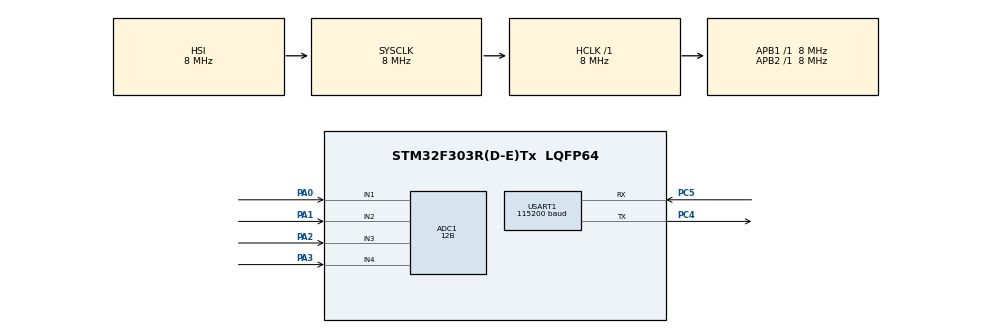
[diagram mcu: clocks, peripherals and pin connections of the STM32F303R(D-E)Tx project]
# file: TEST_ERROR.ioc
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ADC1.Channel-0\#ChannelRegularConversion=ADC_CHANNEL_1
ADC1.Channel-1\#ChannelRegularConversion=ADC_CHANNEL_3
ADC1.ClockPrescaler=ADC_CLOCK_ASYNC_DIV1
ADC1.ContinuousConvMode=ENABLE
ADC1.DMAContinuousRequests=ENABLE
ADC1.DataAlign=ADC_DATAALIGN_RIGHT
ADC1.DiscontinuousConvMode=DISABLE
ADC1.EOCSelection=ADC_EOC_SINGLE_CONV
ADC1.EnableAnalogWatchDog1=false
ADC1.EnableAnalogWatchDog2=false
ADC1.EnableAnalogWatchDog3=false
ADC1.EnableInjectedConversion=ENABLE
ADC1.EnableRegularConversion=ENABLE
ADC1.ExternalTrigConv=ADC_SOFTWARE_START
ADC1.ExternalTrigConvEdge=ADC_EXTERNALTRIGCONVEDGE_NONE
ADC1.InjNumberOfConversion=0
ADC1.LowPowerAutoWait=DISABLE
ADC1.NbrOfConversion=2
ADC1.NbrOfConversionFlag=1
ADC1.Offset-0\#ChannelRegularConversion=0
ADC1.Offset-1\#ChannelRegularConversion=0
ADC1.OffsetNumber-0\#ChannelRegularConversion=ADC_OFFSET_NONE
ADC1.OffsetNumber-1\#ChannelRegularConversion=ADC_OFFSET_NONE
ADC1.Overrun=ADC_OVR_DATA_OVERWRITTEN
ADC1.Rank-0\#ChannelRegularConversion=1
ADC1.Rank-1\#ChannelRegularConversion=2
ADC1.Resolution=ADC_RESOLUTION_12B
ADC1.SamplingTime-0\#ChannelRegularConversion=ADC_SAMPLETIME_61CYCLES_5
ADC1.SamplingTime-1\#ChannelRegularConversion=ADC_SAMPLETIME_61CYCLES_5
ADC1.ScanConvMode=ADC_SCAN_ENABLE
ADC1.SingleDiff-0\#ChannelRegularConversion=ADC_DIFFERENTIAL_ENDED
ADC1.SingleDiff-1\#ChannelRegularConversion=ADC_DIFFERENTIAL_ENDED
ADC1.master=1
Dma.ADC1.1.Direction=DMA_PERIPH_TO_MEMORY
Dma.ADC1.1.Instance=DMA1_Channel1
Dma.ADC1.1.MemDataAlignment=DMA_MDATAALIGN_WORD
Dma.ADC1.1.MemInc=DMA_MINC_ENABLE
Dma.ADC1.1.Mode=DMA_CIRCULAR
Dma.ADC1.1.PeriphDataAlignment=DMA_PDATAALIGN_WORD
Dma.ADC1.1.PeriphInc=DMA_PINC_DISABLE
Dma.ADC1.1.Priority=DMA_PRIORITY_LOW
Dma.Request0=USART1_RX
Dma.Request1=ADC1
Dma.USART1_RX.0.Direction=DMA_PERIPH_TO_MEMORY
Dma.USART1_RX.0.Instance=DMA1_Channel5
Dma.USART1_RX.0.MemDataAlignment=DMA_MDATAALIGN_BYTE
Dma.USART1_RX.0.MemInc=DMA_MINC_ENABLE
Dma.USART1_RX.0.Mode=DMA_CIRCULAR
Dma.USART1_RX.0.PeriphDataAlignment=DMA_PDATAALIGN_BYTE
Dma.USART1_RX.0.PeriphInc=DMA_PINC_DISABLE
Dma.USART1_RX.0.Priority=DMA_PRIORITY_LOW
Mcu.Family=STM32F3
Mcu.Name=STM32F303R(D-E)Tx
Mcu.Package=LQFP64
NVIC.DMA1_Channel1_IRQn=true\:0\:0\:false\:false\:true\:false
NVIC.DMA1_Channel5_IRQn=true\:0\:0\:false\:false\:true\:false
NVIC.PriorityGroup=NVIC_PRIORITYGROUP_4
PA0.Mode=IN1-Differential
PA0.Signal=ADC1_IN1
PA1.Mode=IN1-Differential
PA1.Signal=ADC1_IN2
PA2.Mode=IN3-Differential
PA2.Signal=ADC1_IN3
PA3.Mode=IN3-Differential
PA3.Signal=ADC1_IN4
PC4.Mode=Asynchronous
PC4.Signal=USART1_TX
PC5.Mode=Asynchronous
PC5.Signal=USART1_RX
ProjectManager.HeapSize=0x200
ProjectManager.StackSize=0x400
ProjectManager.TargetToolchain=SW4STM32
RCC.AHBFreq_Value=8000000
RCC.APB1Freq_Value=8000000
RCC.APB2Freq_Value=8000000
RCC.CortexFreq_Value=8000000
RCC.HSE_VALUE=8000000
RCC.HSI_VALUE=8000000
RCC.LSE_VALUE=32768
RCC.SYSCLKFreq_VALUE=8000000
RCC.USBFreq_Value=16000000
USART1.BaudRate=115200
USART1.VirtualMode-Asynchronous=VM_ASYNC
USART1.WordLength=WORDLENGTH_8B
board=TEST_ERROR

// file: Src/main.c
/**
  ******************************************************************************
  * @file           : main.c
  * @brief          : Main program body
  ******************************************************************************
  ** This notice applies to any and all portions of this file
  * that are not between comment pairs USER CODE BEGIN and
  * USER CODE END. Other portions of this file, whether
  * inserted by the user or by software development tools
  * are owned by their respective copyright owners.
  *
  * COPYRIGHT(c) 2019 STMicroelectronics
  *
  * Redistribution and use in source and binary forms, with or without modification,
  * are permitted provided that the following conditions are met:
  *   1. Redistributions of source code must retain the above copyright notice,
  *      this list of conditions and the following disclaimer.
  *   2. Redistributions in binary form must reproduce the above copyright notice,
  *      this list of conditions and the following disclaimer in the documentation
  *      and/or other materials provided with the distribution.
  *   3. Neither the name of STMicroelectronics nor the names of its contributors
  *      may be used to endorse or promote products derived from this software
  *      without specific prior written permission.
  *
  * THIS SOFTWARE IS PROVIDED BY THE COPYRIGHT HOLDERS AND CONTRIBUTORS "AS IS"
  * AND ANY EXPRESS OR IMPLIED WARRANTIES, INCLUDING, BUT NOT LIMITED TO, THE
  * IMPLIED WARRANTIES OF MERCHANTABILITY AND FITNESS FOR A PARTICULAR PURPOSE ARE
  * DISCLAIMED. IN NO EVENT SHALL THE COPYRIGHT HOLDER OR CONTRIBUTORS BE LIABLE
  * FOR ANY DIRECT, INDIRECT, INCIDENTAL, SPECIAL, EXEMPLARY, OR CONSEQUENTIAL
  * DAMAGES (INCLUDING, BUT NOT LIMITED TO, PROCUREMENT OF SUBSTITUTE GOODS OR
  * SERVICES; LOSS OF USE, DATA, OR PROFITS; OR BUSINESS INTERRUPTION) HOWEVER
  * CAUSED AND ON ANY THEORY OF LIABILITY, WHETHER IN CONTRACT, STRICT LIABILITY,
  * OR TORT (INCLUDING NEGLIGENCE OR OTHERWISE) ARISING IN ANY WAY OUT OF THE USE
  * OF THIS SOFTWARE, EVEN IF ADVISED OF THE POSSIBILITY OF SUCH DAMAGE.
  *
  ******************************************************************************
  */
#include "main.h"
#include "stm32f3xx_hal.h"

ADC_HandleTypeDef hadc1;
DMA_HandleTypeDef hdma_adc1;

UART_HandleTypeDef huart1;
DMA_HandleTypeDef hdma_usart1_rx;

/* USER CODE BEGIN PV */
/* Private variables ---------------------------------------------------------*/

/* USER CODE END PV */

void SystemClock_Config(void);
static void MX_GPIO_Init(void);
static void MX_DMA_Init(void);
static void MX_ADC1_Init(void);
static void MX_USART1_UART_Init(void);

/* USER CODE BEGIN PFP */
/* Private function prototypes -----------------------------------------------*/

/* USER CODE END PFP */

int main(void)
{

  /* MCU Configuration----------------------------------------------------------*/

  /* Reset of all peripherals, Initializes the Flash interface and the Systick. */
  HAL_Init();

  /* Configure the system clock */
  SystemClock_Config();

  /* Initialize all configured peripherals */
  MX_GPIO_Init();
  MX_DMA_Init();
  MX_ADC1_Init();
  MX_USART1_UART_Init();
  /* USER CODE BEGIN 2 */
  uint8_t count = 0;
  uint8_t byte;
  int add = +1;
  char str[12];

  char transmit[10];
  char UART_RECIVE[10];
  char test;
  uint32_t adc[2], buffer[2];
  float valVolt = 0.1;
  uint16_t valByte;
  /* USER CODE END 2 */

  /* Infinite loop */
  /* USER CODE BEGIN WHILE */
  HAL_ADC_Start_DMA(&hadc1, buffer, 2);
  HAL_UART_Receive_DMA(&huart1, UART_RECIVE,10);

  while (1)
  {

  /* USER CODE END WHILE */

  /* USER CODE BEGIN 3 */
	  count++;

	  transmit[0]=0xFF;
	  transmit[1]=0x01;
	  transmit[2]=0x02;
	  transmit[3]=buffer[0];
	  transmit[4]=buffer[1];
	  transmit[5]=0x10;
	  transmit[6]=0x10;
	  transmit[7]=0x10;
	  transmit[8]=0x10;
	  transmit[9]=0x10;

	  HAL_UART_Transmit(&huart1, transmit, 10, 10);

		 int start = 0;
		 int offset = 0;
		 char incommingData[10];

		 for(int i = 0; i<10;i++){
			 if (UART_RECIVE[i] == 0xFF){
				   start = i; //start index
				   break;
			 }
		 }

		 if (start == 0){
			 for (int i = 0; i< 10;i++){
				  incommingData[i] = UART_RECIVE[i];
			 }
		 }
		 else if (start != 0){
			 for (int i = 0; i< 10;i++){
				 incommingData[i] = UART_RECIVE[i+start];
				 offset = i+1;
				 if (i+start == 9){
					 break;
				 }
			 }
			 for (int i = 0; i< 10;i++){
				 incommingData[i+offset] = UART_RECIVE[i];
				 if (i+offset == 9){
					 break;
				 }
			 }
		 }

	  //HAL_DAC_SetValue(&hdac1, DAC_CHANNEL_1, DAC_ALIGN_12B_R, incommingData[6]);
	  //HAL_DAC_SetValue(&hdac1, DAC_CHANNEL_2, DAC_ALIGN_12B_R, incommingData[1]);

  }
  /* USER CODE END 3 */

}

void SystemClock_Config(void)
{

  RCC_OscInitTypeDef RCC_OscInitStruct;
  RCC_ClkInitTypeDef RCC_ClkInitStruct;
  RCC_PeriphCLKInitTypeDef PeriphClkInit;

    /**Initializes the CPU, AHB and APB busses clocks
    */
  RCC_OscInitStruct.OscillatorType = RCC_OSCILLATORTYPE_HSI;
  RCC_OscInitStruct.HSIState = RCC_HSI_ON;
  RCC_OscInitStruct.HSICalibrationValue = 16;
  RCC_OscInitStruct.PLL.PLLState = RCC_PLL_ON;
  RCC_OscInitStruct.PLL.PLLSource = RCC_PLLSOURCE_HSI;
  RCC_OscInitStruct.PLL.PLLMUL = RCC_PLL_MUL2;
  RCC_OscInitStruct.PLL.PREDIV = RCC_PREDIV_DIV1;
  if (HAL_RCC_OscConfig(&RCC_OscInitStruct) != HAL_OK)
  {
    _Error_Handler(__FILE__, __LINE__);
  }

    /**Initializes the CPU, AHB and APB busses clocks
    */
  RCC_ClkInitStruct.ClockType = RCC_CLOCKTYPE_HCLK|RCC_CLOCKTYPE_SYSCLK
                              |RCC_CLOCKTYPE_PCLK1|RCC_CLOCKTYPE_PCLK2;
  RCC_ClkInitStruct.SYSCLKSource = RCC_SYSCLKSOURCE_HSI;
  RCC_ClkInitStruct.AHBCLKDivider = RCC_SYSCLK_DIV1;
  RCC_ClkInitStruct.APB1CLKDivider = RCC_HCLK_DIV1;
  RCC_ClkInitStruct.APB2CLKDivider = RCC_HCLK_DIV1;

  if (HAL_RCC_ClockConfig(&RCC_ClkInitStruct, FLASH_LATENCY_0) != HAL_OK)
  {
    _Error_Handler(__FILE__, __LINE__);
  }

  PeriphClkInit.PeriphClockSelection = RCC_PERIPHCLK_USART1|RCC_PERIPHCLK_ADC12;
  PeriphClkInit.Usart1ClockSelection = RCC_USART1CLKSOURCE_PCLK2;
  PeriphClkInit.Adc12ClockSelection = RCC_ADC12PLLCLK_DIV1;
  if (HAL_RCCEx_PeriphCLKConfig(&PeriphClkInit) != HAL_OK)
  {
    _Error_Handler(__FILE__, __LINE__);
  }

    /**Configure the Systick interrupt time
    */
  HAL_SYSTICK_Config(HAL_RCC_GetHCLKFreq()/1000);

    /**Configure the Systick
    */
  HAL_SYSTICK_CLKSourceConfig(SYSTICK_CLKSOURCE_HCLK);

  /* SysTick_IRQn interrupt configuration */
  HAL_NVIC_SetPriority(SysTick_IRQn, 0, 0);
}

/* ADC1 init function */
static void MX_ADC1_Init(void)
{

  ADC_MultiModeTypeDef multimode;
  ADC_ChannelConfTypeDef sConfig;

    /**Common config
    */
  hadc1.Instance = ADC1;
  hadc1.Init.ClockPrescaler = ADC_CLOCK_ASYNC_DIV1;
  hadc1.Init.Resolution = ADC_RESOLUTION_12B;
  hadc1.Init.ScanConvMode = ADC_SCAN_ENABLE;
  hadc1.Init.ContinuousConvMode = ENABLE;
  hadc1.Init.DiscontinuousConvMode = DISABLE;
  hadc1.Init.ExternalTrigConvEdge = ADC_EXTERNALTRIGCONVEDGE_NONE;
  hadc1.Init.ExternalTrigConv = ADC_SOFTWARE_START;
  hadc1.Init.DataAlign = ADC_DATAALIGN_RIGHT;
  hadc1.Init.NbrOfConversion = 2;
  hadc1.Init.DMAContinuousRequests = ENABLE;
  hadc1.Init.EOCSelection = ADC_EOC_SINGLE_CONV;
  hadc1.Init.LowPowerAutoWait = DISABLE;
  hadc1.Init.Overrun = ADC_OVR_DATA_OVERWRITTEN;
  if (HAL_ADC_Init(&hadc1) != HAL_OK)
  {
    _Error_Handler(__FILE__, __LINE__);
  }

    /**Configure the ADC multi-mode
    */
  multimode.Mode = ADC_MODE_INDEPENDENT;
  if (HAL_ADCEx_MultiModeConfigChannel(&hadc1, &multimode) != HAL_OK)
  {
    _Error_Handler(__FILE__, __LINE__);
  }

    /**Configure Regular Channel
    */
  sConfig.Channel = ADC_CHANNEL_1;
  sConfig.Rank = ADC_REGULAR_RANK_1;
  sConfig.SingleDiff = ADC_DIFFERENTIAL_ENDED;
  sConfig.SamplingTime = ADC_SAMPLETIME_61CYCLES_5;
  sConfig.OffsetNumber = ADC_OFFSET_NONE;
  sConfig.Offset = 0;
  if (HAL_ADC_ConfigChannel(&hadc1, &sConfig) != HAL_OK)
  {
    _Error_Handler(__FILE__, __LINE__);
  }

    /**Configure Regular Channel
    */
  sConfig.Channel = ADC_CHANNEL_3;
  sConfig.Rank = ADC_REGULAR_RANK_2;
  if (HAL_ADC_ConfigChannel(&hadc1, &sConfig) != HAL_OK)
  {
    _Error_Handler(__FILE__, __LINE__);
  }

}

/* USART1 init function */
static void MX_USART1_UART_Init(void)
{

  huart1.Instance = USART1;
  huart1.Init.BaudRate = 115200;
  huart1.Init.WordLength = UART_WORDLENGTH_8B;
  huart1.Init.StopBits = UART_STOPBITS_1;
  huart1.Init.Parity = UART_PARITY_NONE;
  huart1.Init.Mode = UART_MODE_TX_RX;
  huart1.Init.HwFlowCtl = UART_HWCONTROL_NONE;
  huart1.Init.OverSampling = UART_OVERSAMPLING_16;
  huart1.Init.OneBitSampling = UART_ONE_BIT_SAMPLE_DISABLE;
  huart1.AdvancedInit.AdvFeatureInit = UART_ADVFEATURE_NO_INIT;
  if (HAL_UART_Init(&huart1) != HAL_OK)
  {
    _Error_Handler(__FILE__, __LINE__);
  }

}

static void MX_DMA_Init(void)
{
  /* DMA controller clock enable */
  __HAL_RCC_DMA1_CLK_ENABLE();

  /* DMA interrupt init */
  /* DMA1_Channel1_IRQn interrupt configuration */
  HAL_NVIC_SetPriority(DMA1_Channel1_IRQn, 0, 0);
  HAL_NVIC_EnableIRQ(DMA1_Channel1_IRQn);
  /* DMA1_Channel5_IRQn interrupt configuration */
  HAL_NVIC_SetPriority(DMA1_Channel5_IRQn, 0, 0);
  HAL_NVIC_EnableIRQ(DMA1_Channel5_IRQn);

}

/** Pinout Configuration
*/
static void MX_GPIO_Init(void)
{

  /* GPIO Ports Clock Enable */
  __HAL_RCC_GPIOA_CLK_ENABLE();
  __HAL_RCC_GPIOC_CLK_ENABLE();

}

void _Error_Handler(char *file, int line)
{
  while(1)
  {
  }
}

/************************ (C) COPYRIGHT STMicroelectronics *****END OF FILE****/
